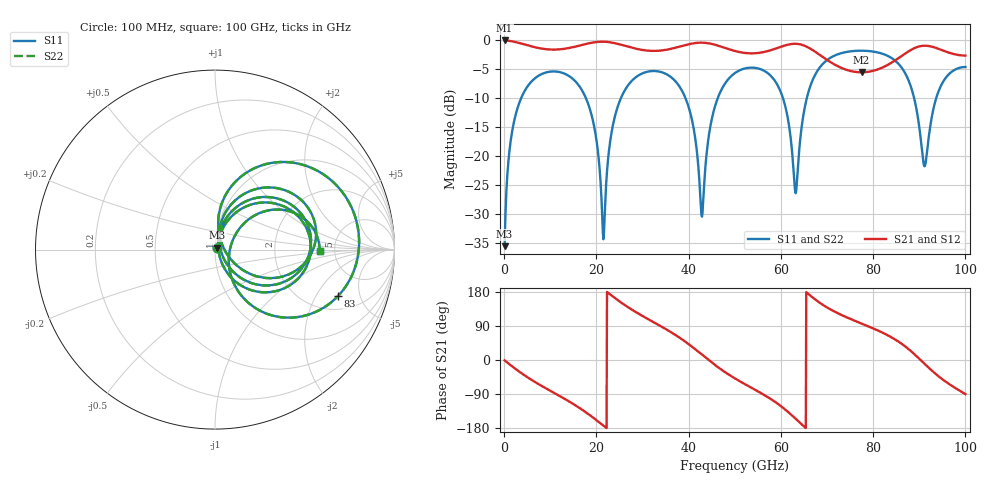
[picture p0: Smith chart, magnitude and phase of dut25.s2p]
! Touchstone file exported from HFSS 2026.1.0
!  File:  C:/ffzhzh/LocalFiles/Ansys_Project_Files/temp_train_TSV_RDL_25_1783615591_33328.aedt
!  Generated:  12:53:27 AM Jul 10, 2026
!  Design:  TSV_RDL
!  Project:  temp_train_TSV_RDL_25_1783615591_33328
! Variables:
!  h_bsmrdl = 2.88um
!  h_ox = 20um
!  h_rdl = 5um
!  h_sub = 77.22um
!  h_tmrdl = 4.58um
!  h_tsv = 77.22um
!  h_via = 3um
!  l_bsmrdl = 143.93um
!  l_sub = 2580.51um
!  l_tmrdl = 415.28um
!  m_sub = 200um
!  pitch = 52.43um
!  r_tsv = 11.64um
!  s_tmrdl = 10um
!  w_bsmrdl = 10.36um
!  w_sub = 500um
!  w_tmrdl = 18.84um
!  x_tsv_center1 = 424.7um
!  x_tsv_center2 = 578.99um
!  x_tsv_center3 = 1013.11um
!  x_tsv_center4 = 1167.4um
!  x_tsv_center5 = 1601.52um
!  x_tsv_center6 = 1755.81um
# GHz S MA R 50.000000
! Terminal data exported
! Port[1] = TM_RDL1_1_T1
! Port[2] = TM_RDL5_1_T1
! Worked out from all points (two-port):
!   1000 points, 100 MHz to 100 GHz, reference 50 ohm
!   highest |S21| = -0.12 dB at 100 MHz (marker M1); lowest = -5.6 dB at 77.5 GHz (marker M2)
!   |S21| within 3 dB of the highest: start of sweep to 69.36 GHz; 85.57 GHz to end of sweep
!   lowest |S11| = -35.5 dB at 100 MHz (marker M3), VSWR 1.03, Z = 51.4 + j1.03 ohm
!   |S11| at or under -10 dB: 17.7 GHz to 25.34 GHz (7.631 GHz wide, 35.5 % of centre); 39.29 GHz to 46.33 GHz (7.038 GHz wide, 16.4 % of centre); 60.43 GHz to 65.63 GHz (5.2 GHz wide, 8.25 % of centre) (the widest 3 of 5)
!   |S22| runs from -35.5 to -1.9 dB; largest |S21 - S12| = 2.8e-13
!   S11 on the Smith chart (normalised r, x): 100 MHz: 1.03, +0.02; 83 GHz: 2.78, -3.11; 100 GHz: 3.80, -0.06
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0.1  0.01677 36.6  0.9867 -1.0  0.9867 -1.0  0.01677 36.6
! Gamma 0 0 0 0
! Port Impedance 50 0 50 0
1.6  0.1512 68.1  0.9717 -15.5  0.9717 -15.5  0.1512 68.1
4.5  0.3658 45.7  0.9099 -41.1  0.9099 -41.1  0.3658 45.7
16.8  0.3721 -39.8  0.9009 -130.3  0.9009 -130.3  0.3721 -39.8
19.7  0.164 -61.0  0.9528 -155.9  0.9528 -155.9  0.164 -61.1
21.5  0.01922 0.1  0.9623 -172.9  0.9623 -172.9  0.01907 -0.1
25  0.2933 60.3  0.9145 154.7  0.9145 154.7  0.2932 60.3
33.4  0.5345 2.5  0.8046 93.0  0.8046 93.0  0.5345 2.4
39.8  0.279 -42.1  0.9113 43.7  0.9113 43.7  0.2789 -42.3
42.9  0.03005 18.3  0.9443 14.0  0.9443 14.0  0.0291 18.4
45.4  0.2412 72.3  0.9132 -10.2  0.9132 -10.2  0.2411 72.5
50.1  0.5194 38.7  0.7997 -49.1  0.7997 -49.1  0.5193 38.7
59.2  0.412 -20.9  0.8493 -114.5  0.8493 -114.5  0.412 -21.0
63.2  0.04782 24.1  0.9238 -155.0  0.9238 -155.0  0.04677 23.9
66.7  0.4323 70.3  0.8243 166.8  0.8243 166.8  0.4321 70.4
77.5  0.8055 6.4  0.5252 96.2  0.5252 96.2  0.8055 6.4
83  0.732 -20.8  0.6034 66.3  0.6034 66.3  0.7319 -20.8
83.4  0.719 -23.1  0.6157 63.7  0.6157 63.7  0.7189 -23.1
88.1  0.4037 -54.8  0.8137 24.4  0.8137 24.4  0.4036 -54.9
91.1  0.08178 -13.2  0.8895 -9.5  0.8895 -9.5  0.08178 -13.3
94.5  0.3867 35.0  0.8266 -46.1  0.8266 -46.1  0.3867 34.9
100  0.5832 -0.5  0.7312 -90.0  0.7312 -90.0  0.5831 -0.7
